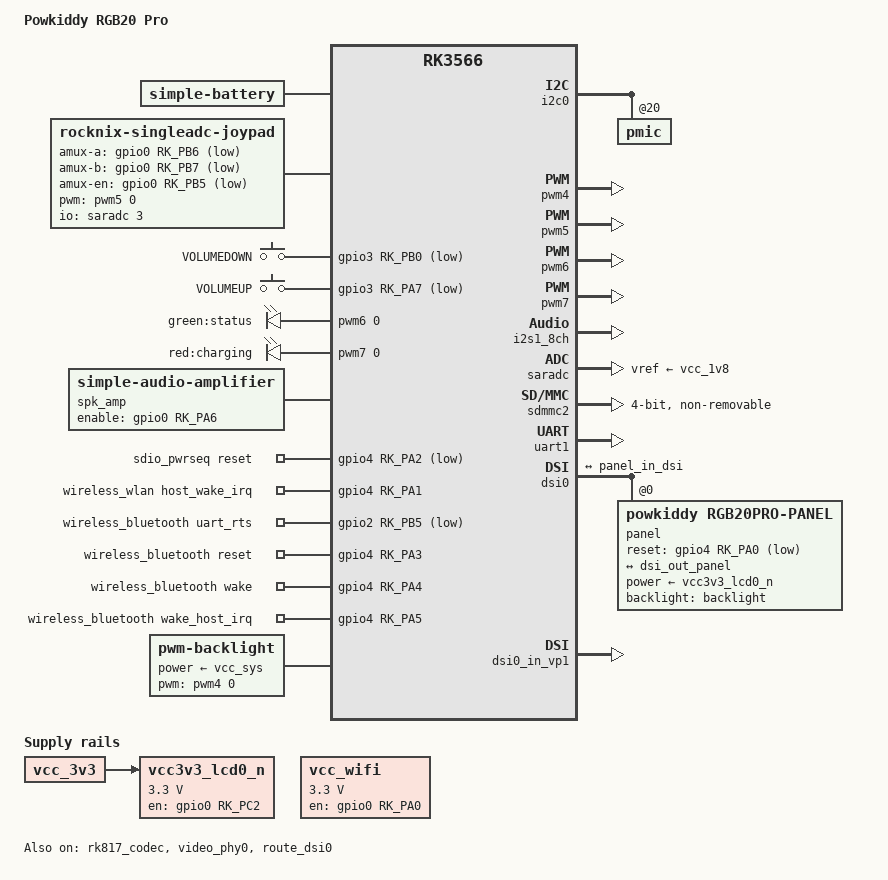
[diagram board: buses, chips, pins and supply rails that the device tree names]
// SPDX-License-Identifier: (GPL-2.0+ OR MIT)
//
// Device tree for Powkiddy RGB20Pro ground station target.
//
// Strategy: inherit the working Radxa Zero 3 DTSI (same RK3566 platform,
// same PMIC, same clock tree) and layer RGB20Pro-specific hardware on top.
//
// DSI panel: uses BSP "simple-panel-dsi" driver (built-in), VP0 routing.
// Based on Radxa BSP rk3566-rk817-tablet-v10.dts + darkOS RGB20Pro DTS.

/dts-v1/;

#include <dt-bindings/display/drm_mipi_dsi.h>
#include <dt-bindings/gpio/gpio.h>
#include <dt-bindings/input/linux-event-codes.h>
#include <dt-bindings/pinctrl/rockchip.h>
#include "rk3566-radxa-zero3.dtsi"

/ {
	model = "Powkiddy RGB20 Pro";
	compatible = "powkiddy,rgb20-pro", "rockchip,rk3566";

	/* ---- Battery (5000mAh) ---- */
	battery: battery {
		compatible = "simple-battery";
		charge-full-design-microamp-hours = <5000000>;
		charge-term-current-microamp = <300000>;
		constant-charge-current-max-microamp = <2000000>;
		constant-charge-voltage-max-microvolt = <4250000>;
		factory-internal-resistance-micro-ohms = <109520>;
		voltage-max-design-microvolt = <4148000>;
		voltage-min-design-microvolt = <3500000>;

		ocv-capacity-celsius = <20>;
		ocv-capacity-table-0 =
			<4148000 100>, <4050000 95>, <3990000 90>,
			<3940000 85>, <3890000 80>, <3845000 75>,
			<3800000 70>, <3760000 65>, <3724000 60>,
			<3690000 55>, <3660000 50>, <3637000 45>,
			<3620000 40>, <3605000 35>, <3590000 30>,
			<3572000 25>, <3550000 20>, <3525000 15>,
			<3500000 10>, <3475000 5>, <3400000 0>;
	};

	/* ---- Joypad (SARADC + GPIO analog mux) ---- */
	joypad: joypad {
		compatible = "rocknix-singleadc-joypad";
		status = "okay";

		joypad-name = "rgb20pro_joypad";
		joypad-product = <0x1101>;
		joypad-revision = <0x0100>;

		io-channels = <&saradc 3>;
		io-channel-names = "amux_adc";

		amux-a-gpios = <&gpio0 RK_PB6 GPIO_ACTIVE_LOW>;
		amux-b-gpios = <&gpio0 RK_PB7 GPIO_ACTIVE_LOW>;
		amux-en-gpios = <&gpio0 RK_PB5 GPIO_ACTIVE_LOW>;

		amux-count = <4>;
		amux-scale = <2>;
		amux-deadzone = <64>;
		amux-fuzz = <32>;
		amux-flat = <32>;

		invert-absx;
		invert-absy;
		invert-absrx;
		invert-absry;

		pwms = <&pwm5 0 1000000000 0>;
		rumble-boost-weak = <0x0000>;
		rumble-boost-strong = <0x0000>;

		button-adc-count = <0>;
		poll-interval = <16>;

		button-sw1 {
			gpios = <&gpio3 RK_PA3 GPIO_ACTIVE_LOW>;
			label = "DPAD-UP";
			linux,code = <BTN_DPAD_UP>;
		};
		button-sw2 {
			gpios = <&gpio3 RK_PA4 GPIO_ACTIVE_LOW>;
			label = "DPAD-DOWN";
			linux,code = <BTN_DPAD_DOWN>;
		};
		button-sw3 {
			gpios = <&gpio3 RK_PA6 GPIO_ACTIVE_LOW>;
			label = "DPAD-LEFT";
			linux,code = <BTN_DPAD_LEFT>;
		};
		button-sw4 {
			gpios = <&gpio3 RK_PA5 GPIO_ACTIVE_LOW>;
			label = "DPAD-RIGHT";
			linux,code = <BTN_DPAD_RIGHT>;
		};
		button-sw5 {
			gpios = <&gpio3 RK_PC3 GPIO_ACTIVE_LOW>;
			label = "SOUTH";
			linux,code = <BTN_SOUTH>;
		};
		button-sw6 {
			gpios = <&gpio3 RK_PC2 GPIO_ACTIVE_LOW>;
			label = "EAST";
			linux,code = <BTN_EAST>;
		};
		button-sw7 {
			gpios = <&gpio3 RK_PC0 GPIO_ACTIVE_LOW>;
			label = "NORTH";
			linux,code = <BTN_NORTH>;
		};
		button-sw8 {
			gpios = <&gpio3 RK_PC1 GPIO_ACTIVE_LOW>;
			label = "WEST";
			linux,code = <BTN_WEST>;
		};
		button-sw9 {
			gpios = <&gpio3 RK_PB6 GPIO_ACTIVE_LOW>;
			label = "SELECT";
			linux,code = <BTN_SELECT>;
		};
		button-sw10 {
			gpios = <&gpio3 RK_PB5 GPIO_ACTIVE_LOW>;
			label = "START";
			linux,code = <BTN_START>;
		};
		button-sw11 {
			gpios = <&gpio3 RK_PB7 GPIO_ACTIVE_LOW>;
			label = "MODE";
			linux,code = <BTN_MODE>;
		};
		button-sw12 {
			gpios = <&gpio3 RK_PB1 GPIO_ACTIVE_LOW>;
			label = "TL";
			linux,code = <BTN_TL>;
		};
		button-sw13 {
			gpios = <&gpio3 RK_PB3 GPIO_ACTIVE_LOW>;
			label = "TR";
			linux,code = <BTN_TR>;
		};
		button-sw14 {
			gpios = <&gpio3 RK_PB2 GPIO_ACTIVE_LOW>;
			label = "TL2";
			linux,code = <BTN_TL2>;
		};
		button-sw15 {
			gpios = <&gpio3 RK_PB4 GPIO_ACTIVE_LOW>;
			label = "TR2";
			linux,code = <BTN_TR2>;
		};
		button-sw16 {
			gpios = <&gpio3 RK_PA1 GPIO_ACTIVE_LOW>;
			label = "THUMBL";
			linux,code = <BTN_THUMBL>;
		};
		button-sw17 {
			gpios = <&gpio3 RK_PA2 GPIO_ACTIVE_LOW>;
			label = "THUMBR";
			linux,code = <BTN_THUMBR>;
		};
	};

	/* ---- Volume buttons ---- */
	gpio_keys_vol: gpio-keys-vol {
		compatible = "gpio-keys";
		autorepeat;
		pinctrl-0 = <&btn_pins_vol>;
		pinctrl-names = "default";

		button-vol-down {
			gpios = <&gpio3 RK_PB0 GPIO_ACTIVE_LOW>;
			label = "VOLUMEDOWN";
			linux,code = <KEY_VOLUMEDOWN>;
		};
		button-vol-up {
			gpios = <&gpio3 RK_PA7 GPIO_ACTIVE_LOW>;
			label = "VOLUMEUP";
			linux,code = <KEY_VOLUMEUP>;
		};
	};

	/* ---- LEDs (PWM-driven) ---- */
	leds: pwm-leds {
		compatible = "pwm-leds";

		green_led: led-0 {
			label = "green:status";
			pwms = <&pwm6 0 25000 0>;
			max-brightness = <255>;
		};
		red_led: led-1 {
			label = "red:charging";
			pwms = <&pwm7 0 25000 0>;
			max-brightness = <255>;
		};
	};

	/* ---- Speaker amplifier ---- */
	spk_amp: audio-amplifier {
		compatible = "simple-audio-amplifier";
		enable-gpios = <&gpio0 RK_PA6 GPIO_ACTIVE_HIGH>;
		sound-name-prefix = "Speaker Amp";
	};

	/* ---- RK817 sound card (speaker + headphones) ---- */
	rk817-sound {
		compatible = "simple-audio-card";
		simple-audio-card,name = "Analog";
		simple-audio-card,format = "i2s";
		simple-audio-card,mclk-fs = <256>;

		simple-audio-card,codec {
			sound-dai = <&rk817_codec>;
		};
		simple-audio-card,cpu {
			sound-dai = <&i2s1_8ch>;
		};
	};

	/* ---- WiFi power sequence ---- */
	sdio_pwrseq: sdio-pwrseq {
		compatible = "mmc-pwrseq-simple";
		clocks = <&rk817 1>;
		clock-names = "ext_clock";
		pinctrl-0 = <&wifi_enable_h>;
		pinctrl-names = "default";
		reset-gpios = <&gpio4 RK_PA2 GPIO_ACTIVE_LOW>;
		post-power-on-delay-ms = <200>;
	};

	/* ---- WiFi platform driver (Rockchip rfkill-wlan) ---- */
	wireless_wlan: wireless-wlan {
		compatible = "wlan-platdata";
		rockchip,grf = <&grf>;
		wifi_chip_type = "ap6330";
		pinctrl-names = "default";
		pinctrl-0 = <&wifi_host_wake_irq>;
		WIFI,host_wake_irq = <&gpio4 RK_PA1 GPIO_ACTIVE_HIGH>;
		keep_wifi_power_on;
		status = "okay";
	};

	/* ---- Bluetooth platform driver (Rockchip rfkill-bt) ---- */
	wireless_bluetooth: wireless-bluetooth {
		compatible = "bluetooth-platdata";
		clocks = <&rk817 1>;
		clock-names = "ext_clock";
		uart_rts_gpios = <&gpio2 RK_PB5 GPIO_ACTIVE_LOW>;
		pinctrl-names = "default", "rts_gpio";
		pinctrl-0 = <&uart1m1_rtsn>;
		pinctrl-1 = <&uart1_gpios>;
		BT,reset_gpio    = <&gpio4 RK_PA3 GPIO_ACTIVE_HIGH>;
		BT,wake_gpio     = <&gpio4 RK_PA4 GPIO_ACTIVE_HIGH>;
		BT,wake_host_irq = <&gpio4 RK_PA5 GPIO_ACTIVE_HIGH>;
		status = "okay";
	};

	/* ---- WiFi power regulator ---- */
	vcc_wifi: regulator-vcc-wifi {
		compatible = "regulator-fixed";
		enable-active-high;
		gpio = <&gpio0 RK_PA0 GPIO_ACTIVE_HIGH>;
		pinctrl-0 = <&wifi_pwr>;
		pinctrl-names = "default";
		regulator-always-on;
		regulator-boot-on;
		regulator-min-microvolt = <3300000>;
		regulator-max-microvolt = <3300000>;
		regulator-name = "vcc_wifi";
	};

	/* ---- Backlight (PWM4) — for future DSI panel ---- */
	backlight: backlight {
		compatible = "pwm-backlight";
		power-supply = <&vcc_sys>;
		pwms = <&pwm4 0 25000 0>;
		brightness-levels = <0 1 2 3 4 5 6 7 8 9
				     10 20 30 40 50 60 70 80 90 100
				     110 120 130 140 150 160 170 180 190 200
				     210 220 230 240 255>;
		default-brightness-level = <15>;
	};

	/* ---- LCD power — for future DSI panel ---- */
	vcc3v3_lcd0_n: regulator-vcc3v3-lcd0 {
		compatible = "regulator-fixed";
		gpio = <&gpio0 RK_PC2 GPIO_ACTIVE_HIGH>;
		enable-active-high;
		pinctrl-0 = <&lcd_enable>;
		pinctrl-names = "default";
		regulator-boot-on;
		regulator-min-microvolt = <3300000>;
		regulator-max-microvolt = <3300000>;
		regulator-name = "vcc3v3_lcd0_n";
		vin-supply = <&vcc_3v3>;
	};
};

/* ---- Disable Radxa gpio-leds (conflicts with our pwm-leds) ---- */
&gpio_leds {
	status = "disabled";
};

/* ---- Disable Radxa fusb302 USB-C (RGB20Pro has no USB-C, and its
   interrupt GPIO3_PC7 conflicts with sdmmc2m0 data pin for WiFi) ---- */
&usbc0 {
	status = "disabled";
};

/* ---- RK817 battery + charger (add to existing PMIC on i2c0) ---- */
/* BSP MFD driver matches sub-devices by of_compatible, so these nodes
   need compatible properties matching the mfd_cell of_compatible strings. */
&i2c0 {
	pmic@20 {
		rk817_battery: battery {
			compatible = "rk817,battery";
			monitored-battery = <&battery>;

			/* BSP driver properties (different from mainline) */
			ocv_table = <
				3400 3475 3500 3525 3550
				3572 3590 3605 3620 3637
				3660 3690 3724 3760 3800
				3845 3890 3940 3990 4050
				4148>;
			design_capacity = <5000>;
			design_qmax = <5500>;
			bat_res = <100>;
			sleep_enter_current = <300>;
			sleep_exit_current = <300>;
			sleep_filter_current = <100>;
			power_off_thresd = <3400>;
			sample_res = <10>;
		};

		rk817_charger: charger {
			compatible = "rk817,charger";
			monitored-battery = <&battery>;
			rockchip,resistor-sense-micro-ohms = <10000>;
			rockchip,sleep-enter-current-microamp = <300000>;
			rockchip,sleep-filter-current-microamp = <100000>;

			/* BSP driver properties */
			max_chrg_current = <2000>;
			max_input_current = <2000>;
			max_chrg_voltage = <4250>;
			min_input_voltage = <4500>;
			chrg_finish_cur = <300>;
			chrg_term_mode = <0>;
			virtual_power = <0>;
			power_dc2otg = <0>;
			sample_res = <10>;
			otg5v_suspend_enable = <1>;
			gate_function_disable = <0>;
			otg_switch-supply = <&otg_switch>;
		};
	};
};

/* ---- PWM channels ---- */
&pwm4 {
	status = "okay";
};

&pwm5 {
	status = "okay";
};

&pwm6 {
	status = "okay";
};

&pwm7 {
	status = "okay";
};

/* ---- Enable RK817 codec (disabled in Radxa DTSI) ---- */
&rk817_codec {
	status = "okay";
	spk-ctl-gpios = <&gpio0 RK_PA6 GPIO_ACTIVE_HIGH>;
};

/* ---- Enable I2S1 for RK817 codec ---- */
&i2s1_8ch {
	status = "okay";
};

/* ---- ADC (for joypad) ---- */
&saradc {
	status = "okay";
	vref-supply = <&vcc_1v8>;
};

/* ---- WiFi (RTL8821CS over SDIO on sdmmc2) ---- */
/* darkOS uses sdmmc2, not sdmmc1. sdmmc1 is a regular SD slot. */
&sdmmc2 {
	max-frequency = <100000000>;
	supports-sdio;
	bus-width = <4>;
	disable-wp;
	cap-sd-highspeed;
	cap-sdio-irq;
	keep-power-in-suspend;
	mmc-pwrseq = <&sdio_pwrseq>;
	non-removable;
	pinctrl-names = "default";
	pinctrl-0 = <&sdmmc2m0_bus4 &sdmmc2m0_cmd &sdmmc2m0_clk>;
	sd-uhs-sdr104;
	rockchip,default-sample-phase = <90>;
	status = "okay";
};

/* ---- Bluetooth UART (RTL8821CS on UART1 mux m1) ---- */
&uart1 {
	status = "okay";
	pinctrl-names = "default";
	pinctrl-0 = <&uart1m1_xfer &uart1m1_ctsn>;
};

/* ---- DSI PHY ---- */
&video_phy0 {
	status = "okay";
};

/* ---- MIPI DSI controller + panel ---- */
/* Uses BSP "simple-panel-dsi" (CONFIG_DRM_PANEL_SIMPLE=y, already built-in).
   Init sequence from darkOS rk3566-rgb20pro.dts. VP0 routing (shared with HDMI,
   hardware switches at boot based on HDMI detect). */
&dsi0 {
	status = "okay";
	/* rockchip,lane-rate omitted — auto-calculate like darkOS */

	panel@0 {
		compatible = "powkiddy,rgb20pro-panel", "simple-panel-dsi";
		reg = <0>;
		backlight = <&backlight>;
		power-supply = <&vcc3v3_lcd0_n>;
		reset-gpios = <&gpio4 RK_PA0 GPIO_ACTIVE_LOW>;
		pinctrl-names = "default";
		pinctrl-0 = <&lcd_rst>;

		prepare-delay-ms = <200>;
		reset-delay-ms = <150>;
		init-delay-ms = <36>;
		enable-delay-ms = <36>;
		disable-delay-ms = <50>;
		unprepare-delay-ms = <36>;

		bpc = <8>;
		bus-format = <0x100a>;	/* MEDIA_BUS_FMT_RGB888_1X24 */
		width-mm = <65>;
		height-mm = <49>;

		dsi,flags = <(MIPI_DSI_MODE_VIDEO |
			      MIPI_DSI_MODE_VIDEO_BURST |
			      MIPI_DSI_MODE_LPM |
			      MIPI_DSI_MODE_NO_EOT_PACKET)>;
		dsi,format = <MIPI_DSI_FMT_RGB888>;
		dsi,lanes = <4>;

		/* Init sequence from darkOS — all commands as DCS_LONG_WRITE (0x39) */
		panel-init-sequence = [
			39 00 04 df 91 68 f9
			39 00 02 de 00
			39 00 03 b2 00 7e
			39 00 03 b3 00 7e
			39 00 07 c1 00 10 00 00 00 00
			39 00 08 bb 02 24 07 61 19 44 44
			39 00 03 be 1a f2
			39 00 0f c3 10 17 5a 17 5a 05 05 05 05 15 15 31 05 df
			39 00 08 c4 11 80 00 df 09 06 14
			39 00 17 ce 00 03 03 03 03 03 03 03 03 03 03 03 03 03 03 03 03 03 03 03 0f 03
			39 00 0a cf 00 01 40 01 ca 01 ca 01 ca
			39 00 18 d0 00 1f 1f 1f 1f 1f 1f 1f 1f 1f 1f 03 01 05 07 09 0b 1e 15 1f 1f 15 1f
			39 00 18 d1 00 1f 1f 1f 1f 1f 1f 1f 1f 1f 1f 02 00 04 06 08 0a 1e 15 1f 1f 15 1f
			39 00 18 d2 00 1f 1f 1f 1f 1f 1f 1f 1f 1f 1f 00 02 0a 08 06 04 1f 15 1f 1f 15 1e
			39 00 18 d3 00 1f 1f 1f 1f 1f 1f 1f 1f 1f 1f 01 03 0b 09 07 05 1f 15 1f 1f 15 1e
			39 00 26 d4 30 00 00 04 00 06 00 00 00 00 00 03 03 00 11 00 01 c0 04 01 01 11 80 01 c0 05 01 01 00 00 00 04 00 06 18 02 e3
			39 00 09 d5 68 73 00 08 08 00 03 00
			39 00 07 b7 00 d8 00 00 d8 00
			39 00 27 c8 7f 69 5a 4e 4a 3b 40 2a 44 43 44 63 51 59 4c 48 3a 28 0f 7f 69 5a 4e 4a 3b 40 2a 44 43 44 63 51 59 4c 48 3a 28 0f
			39 00 02 de 02
			39 00 05 bb 00 5b 5c 41
			39 00 04 b5 00 5a 0a
			39 00 02 c6 22
			39 00 02 d7 12
			39 00 02 de 00
			39 00 02 35 00
			05 fa 01 11
			05 fa 01 29
		];

		/* Exit sequence delays from darkOS: 20ms + 10ms */
		panel-exit-sequence = [
			05 14 01 28
			05 0a 01 10
		];

		display-timings {
			native-mode = <&dsi0_timing0>;

			dsi0_timing0: timing0 {
				clock-frequency = <51072000>;
				hactive = <1024>;
				vactive = <768>;
				hfront-porch = <20>;
				hsync-len = <4>;
				hback-porch = <20>;
				vfront-porch = <15>;
				vsync-len = <3>;
				vback-porch = <11>;
				hsync-active = <0>;
				vsync-active = <0>;
				de-active = <0>;
				pixelclk-active = <0>;
			};
		};

		ports {
			#address-cells = <1>;
			#size-cells = <0>;

			port@0 {
				reg = <0>;
				panel_in_dsi: endpoint {
					remote-endpoint = <&dsi_out_panel>;
				};
			};
		};
	};

	ports {
		#address-cells = <1>;
		#size-cells = <0>;

		port@1 {
			reg = <1>;
			dsi_out_panel: endpoint {
				remote-endpoint = <&panel_in_dsi>;
			};
		};
	};
};

/* ---- VOP: DSI0 on VP1 (VP0 stays on HDMI) ---- */
&dsi0_in_vp0 {
	status = "disabled";
};

&dsi0_in_vp1 {
	status = "okay";
};

&route_dsi0 {
	status = "okay";
	connect = <&vp1_out_dsi0>;
};

/* ---- Pin control ---- */
&pinctrl {
	btn-pins {
		btn_pins_vol: btn-pins-vol {
			rockchip,pins =
				<3 RK_PA7 0 &pcfg_pull_up>,
				<3 RK_PB0 0 &pcfg_pull_up>;
		};
	};

	lcd {
		lcd_enable: lcd-enable {
			rockchip,pins =
				<0 RK_PC2 0 &pcfg_pull_none>;
		};

		lcd_rst: lcd-rst {
			rockchip,pins =
				<4 RK_PA0 0 &pcfg_pull_none>;
		};
	};

	wifi {
		wifi_enable_h: wifi-enable-h {
			rockchip,pins =
				<4 RK_PA2 0 &pcfg_pull_none>;
		};

		wifi_pwr: wifi-pwr {
			rockchip,pins =
				<0 RK_PA0 0 &pcfg_pull_none>;
		};
	};

	wireless-wlan {
		wifi_host_wake_irq: wifi-host-wake-irq {
			rockchip,pins =
				<4 RK_PA1 0 &pcfg_pull_down>;
		};
	};

	wireless-bluetooth {
		uart1_gpios: uart1-gpios {
			rockchip,pins =
				<4 RK_PB6 0 &pcfg_pull_none>;
		};
	};
};
